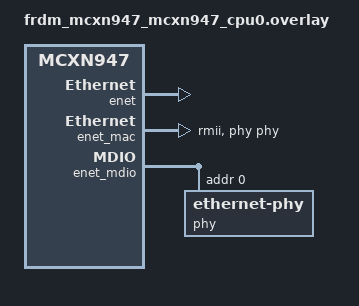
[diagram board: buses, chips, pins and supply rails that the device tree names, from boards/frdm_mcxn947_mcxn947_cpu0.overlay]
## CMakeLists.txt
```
# SPDX-License-Identifier: MIT
#
# IOTCONNECT NXP eIQ Neutron NPU benchmark -- vendor-specific demo.
#
# Proves NPU acceleration by running the SAME quantized model twice -- once on
# the eIQ Neutron NPU, once on the Cortex-M33 -- timing each inference and
# streaming the result to /IOTCONNECT. The NPU-vs-CPU build is a single Kconfig
# switch, CONFIG_MCUX_HAS_NPU (CPU build via cpu.conf).
#
# This app single-sources the eIQ/Neutron model glue from iotc-mcx-zephyr-demos
# (it does not copy it) and uses the IOTCONNECT Zephyr SDK for connectivity.
#
# Required modules on the `west build` line (see README):
#   -DZEPHYR_EXTRA_MODULES=<abs path to iotc-zephyr-sdk>
#   -DZEPHYR_IOTC_C_LIB_MODULE_DIR=<abs path to iotc-c-lib>
cmake_minimum_required(VERSION 3.20.0)
find_package(Zephyr REQUIRED HINTS $ENV{ZEPHYR_BASE})
project(iotc_npu_benchmark)

# --- eIQ/Neutron model glue (in-tree; override with -DMODEL_DIR=...) ---------
# NXP's TFLM interpreter wrapper + NPU/CPU op resolvers + the quantized model
# data, vendored from the (archived) iotc-mcx-zephyr-demos repo. Apache-2.0.
if(NOT DEFINED MODEL_DIR)
  set(MODEL_DIR ${CMAKE_CURRENT_SOURCE_DIR}/model)
endif()

# --- eIQ-augmented TensorFlow Lite Micro (NXP Neutron build) -----------------
# This is the "eIQ package": NXP's mcux-sdk-middleware-tensorflow repo
# (github.com/nxp-mcuxpresso, tag MCUX_2.16.000). It carries the Neutron
# kernel + prebuilt libtflm.a / libNeutron*.a that upstream tflite-micro
# lacks -- clone it and point TFLITE_DIR at it. See README -> "Drop in".
if(NOT DEFINED TFLITE_DIR)
  set(TFLITE_DIR ${ZEPHYR_BASE}/../modules/lib/tflite-micro)
endif()

if(NOT EXISTS ${MODEL_DIR}/model.cpp)
  message(FATAL_ERROR
    "Model glue not found at ${MODEL_DIR} (vendored under this demo's model/; "
    "override with -DMODEL_DIR=...).")
endif()

if(NOT EXISTS ${TFLITE_DIR}/lib)
  message(FATAL_ERROR
    "NXP eIQ TFLM middleware not found at ${TFLITE_DIR} -- upstream "
    "tflite-micro lacks the Neutron backend and the prebuilt libtflm.a. "
    "Clone github.com/nxp-mcuxpresso/mcux-sdk-middleware-tensorflow "
    "(tag MCUX_2.16.000) and pass -DTFLITE_DIR=<path to it>. "
    "See README -> 'Drop in the eIQ package'.")
endif()

# --- App sources -------------------------------------------------------------
#   main.c          : net bring-up + SDK lifecycle + benchmark loop (pure C)
#   model_bench.cpp : tiny C-callable shim over the C++ MODEL_* API
#   model.cpp       : the reused TFLM interpreter wrapper (NXP)
target_sources(app PRIVATE
  src/main.c
  src/model_bench.cpp
  ${MODEL_DIR}/model.cpp
)

zephyr_include_directories(
  src
  ${MODEL_DIR}
  ${TFLITE_DIR}
  ${TFLITE_DIR}/third_party/flatbuffers/include
  ${TFLITE_DIR}/third_party/gemmlowp
  ${TFLITE_DIR}/third_party/ruy
)

# --- Prebuilt TFLM static library (per Cortex-M core) ------------------------
add_library(libtflm STATIC IMPORTED GLOBAL)
if(DEFINED CONFIG_CPU_CORTEX_M33)
  set_target_properties(libtflm PROPERTIES IMPORTED_LOCATION
    ${TFLITE_DIR}/lib/cm33/armgcc/libtflm.a)
elseif(DEFINED CONFIG_CPU_CORTEX_M7)
  set_target_properties(libtflm PROPERTIES IMPORTED_LOCATION
    ${TFLITE_DIR}/lib/cm7/armgcc/libtflm.a)
else()
  message(FATAL_ERROR "No prebuilt libtflm.a for this core")
endif()

if(DEFINED CONFIG_MCUX_HAS_NPU)
  # ---- NPU path: Neutron-compiled graph + Neutron runtime -------------------
  zephyr_include_directories(
    ${MODEL_DIR}/model_npu
    ${TFLITE_DIR}/tensorflow/lite/micro/kernels/neutron
    ${TFLITE_DIR}/third_party/neutron/common/include
    ${TFLITE_DIR}/third_party/neutron/driver/include
  )
  target_sources(app PRIVATE
    ${MODEL_DIR}/model_npu/model_ops_npu.cpp
    ${MODEL_DIR}/model_npu/model_data.s          # eIQ Neutron-converter output
    ${TFLITE_DIR}/tensorflow/lite/micro/kernels/neutron/neutron.cpp
  )
  add_library(libNeutronDriver STATIC IMPORTED GLOBAL)
  set_target_properties(libNeutronDriver PROPERTIES IMPORTED_LOCATION
    ${TFLITE_DIR}/third_party/neutron/mcxn/libNeutronDriver.a)
  add_library(libNeutronFirmware STATIC IMPORTED GLOBAL)
  set_target_properties(libNeutronFirmware PROPERTIES IMPORTED_LOCATION
    ${TFLITE_DIR}/third_party/neutron/mcxn/libNeutronFirmware.a)
  target_link_libraries(app PUBLIC libNeutronDriver libNeutronFirmware)
else()
  # ---- CPU path: same model topology, reference/CMSIS-NN kernels -------------
  zephyr_include_directories(${MODEL_DIR}/model_sw)
  target_sources(app PRIVATE ${MODEL_DIR}/model_sw/model_mobilenet_ops_micro.cpp)
endif()

target_link_libraries(app PUBLIC libtflm)
target_compile_definitions(app PRIVATE TF_LITE_STATIC_MEMORY)
target_compile_options(app PRIVATE -Wno-psabi)
```

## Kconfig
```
# Application Kconfig for the IOTCONNECT NXP Neutron NPU benchmark.
mainmenu "IOTCONNECT NXP Neutron NPU Benchmark"

config APP_PUBLISH_TO_CLOUD
	bool "Publish benchmark results to /IOTCONNECT"
	default y
	help
	  When enabled, the device brings up the network bearer, syncs time, and
	  streams each benchmark cycle to IOTCONNECT (requires device credentials).
	  When disabled, the inference benchmark runs in a local loop that only logs
	  results to the console -- no network, SNTP, or credentials needed. Handy
	  for validating NPU-vs-CPU timing on the bench before wiring up the cloud.

config APP_BENCH_ITERATIONS
	int "Measured inferences per benchmark cycle"
	default 20
	help
	  Number of timed MODEL_RunInference() calls averaged into one telemetry
	  record (min / avg / max are reported).

config APP_BENCH_WARMUP
	int "Warm-up inferences (not timed) per cycle"
	default 2

config APP_BENCH_INTERVAL_SEC
	int "Seconds between benchmark cycles / publishes"
	default 5

# ---------------------------------------------------------------------------
# Symbols consumed by the reused model glue (iotc-mcx-zephyr-demos/src/model).
# Defined here so this app's Kconfig is self-contained.
# ---------------------------------------------------------------------------

config MCUX_HAS_NPU
	bool "Build the eIQ Neutron NPU model (off = CPU/reference kernels)"
	default y
	help
	  Selects model_npu (the Neutron-compiled graph + Neutron runtime) versus
	  model_sw (plain reference/CMSIS-NN kernels) at build time -- this is the
	  switch the whole demo pivots on. The CPU build is provided by cpu.conf.

config APP_TENSOR_ARENA_SIZE_KB
	int "TFLM tensor arena size (KB)"
	default 200
	help
	  Static scratch buffer for model tensors. Size to your model; the app logs
	  actual arena bytes used at startup so you can trim this.

config APP_LOG_LEVEL
	int "Application/model log level (0=off..4=dbg)"
	default 3

source "Kconfig.zephyr"
```

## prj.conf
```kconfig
# IOTCONNECT NXP eIQ Neutron NPU benchmark -- vendor-specific demo.
#
# = the vendor-neutral connectivity baseline (copied from the SDK telemetry
#   sample) + the eIQ/Neutron NPU model-build requirements (from
#   iotc-mcx-zephyr-demos). Board bearer settings live in boards/<board>.conf.
# The NPU-vs-CPU model is chosen by CONFIG_MCUX_HAS_NPU (default y); the CPU
# build is `-DEXTRA_CONF_FILE=cpu.conf`.

# === Connectivity: IOTCONNECT SDK ==========================================
CONFIG_IOTCONNECT=y
CONFIG_IOTCONNECT_DRA=y
# Device identity (override per device; reuse your POC account values).
CONFIG_IOTCONNECT_CPID=""
CONFIG_IOTCONNECT_ENV=""
CONFIG_IOTCONNECT_DUID=""
CONFIG_IOTCONNECT_CT_AWS=y
CONFIG_IOTCONNECT_DRA_DISCOVERY_HOST="awsdiscovery.iotconnect.io"

# --- Networking (native Zephyr IP stack) -----------------------------------
CONFIG_NETWORKING=y
CONFIG_NET_NATIVE=y
CONFIG_NET_IPV4=y
CONFIG_NET_IPV6=n
CONFIG_NET_TCP=y
CONFIG_NET_UDP=y
CONFIG_NET_SOCKETS=y
CONFIG_NET_SOCKETS_SOCKOPT_TLS=y
CONFIG_NET_SOCKETS_TLS_MAX_CONTEXTS=4
CONFIG_DNS_RESOLVER=y
CONFIG_NET_CONNECTION_MANAGER=y
CONFIG_NET_MGMT=y
CONFIG_NET_MGMT_EVENT=y
CONFIG_POSIX_API=y

# --- TLS / mbedTLS ----------------------------------------------------------
CONFIG_TLS_CREDENTIALS=y
CONFIG_MBEDTLS=y
CONFIG_MBEDTLS_ENABLE_HEAP=y
CONFIG_MBEDTLS_HEAP_SIZE=60000
CONFIG_MBEDTLS_SSL_MAX_CONTENT_LEN=16384
CONFIG_MBEDTLS_PEM_PARSE_C=y
CONFIG_MBEDTLS_SSL_SERVER_NAME_INDICATION=y
CONFIG_MBEDTLS_CIPHERSUITE_TLS_ECDHE_RSA_WITH_AES_128_GCM_SHA256=y
CONFIG_MBEDTLS_CIPHERSUITE_TLS_ECDHE_ECDSA_WITH_AES_128_GCM_SHA256=y
CONFIG_ENTROPY_GENERATOR=y

# --- MQTT / HTTP / SNTP -----------------------------------------------------
CONFIG_MQTT_LIB=y
CONFIG_MQTT_LIB_TLS=y
CONFIG_MQTT_KEEPALIVE=30
CONFIG_HTTP_CLIENT=y
CONFIG_SNTP=y
CONFIG_POSIX_TIMERS=y

# --- Settings / NVS ---------------------------------------------------------
CONFIG_SETTINGS=y
CONFIG_SETTINGS_NVS=y
CONFIG_NVS=y
CONFIG_FLASH=y
CONFIG_FLASH_MAP=y

# === Edge AI: eIQ Neutron NPU model ========================================
CONFIG_MCUX_HAS_NPU=y
CONFIG_APP_TENSOR_ARENA_SIZE_KB=200

# TensorFlow Lite Micro is C++ and needs full libc++ + newlib. The vendor-
# neutral telemetry sample runs picolibc; the NPU model build cannot, so we
# switch libc here. Full newlib also restores FP printf for cJSON telemetry.
CONFIG_CPP=y
CONFIG_REQUIRES_FULL_LIBCPP=y
CONFIG_STD_CPP11=y
CONFIG_PICOLIBC=n
CONFIG_NEWLIB_LIBC=y
CONFIG_REQUIRES_FULL_LIBC=y
CONFIG_CBPRINTF_FP_SUPPORT=y

# Neutron NPU + TFLM kernels use hardware floating point.
CONFIG_FPU=y
CONFIG_FP_HARDABI=y

# === libc / heap / stacks ===================================================
# The tensor arena is a static buffer (.bss), so stacks stay modest; the heap
# covers mbedTLS + cJSON + net buffers.
CONFIG_MAIN_STACK_SIZE=8192
CONFIG_HEAP_MEM_POOL_SIZE=32768
CONFIG_IOTCONNECT_THREAD_STACK_SIZE=4096

# === Logging ================================================================
CONFIG_LOG=y
CONFIG_IOTCONNECT_LOG_LEVEL_INF=y
CONFIG_APP_LOG_LEVEL=3
```

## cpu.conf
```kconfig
# CPU (Cortex-M33) reference build -- same model topology, NO Neutron NPU.
#
#   west build -b frdm_mcxn947/mcxn947/cpu0 <app> -- -DEXTRA_CONF_FILE=cpu.conf ...
#
# Produces the "cpu-m33" accelerator label so the IOTCONNECT dashboard can chart
# CPU inference time alongside the default NPU build ("neutron-npu"). The delta
# between the two builds is the demo.
CONFIG_MCUX_HAS_NPU=n
```

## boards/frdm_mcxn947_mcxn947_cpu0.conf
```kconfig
# FRDM-MCXN947 bearer config for the NPU benchmark -- native Ethernet.
#
# Same bearer story as the SDK telemetry sample: the MCXN947 ENET-QoS MAC is
# wired (RMII) to an onboard Microchip LAN8741 PHY + RJ45. The overlay enables
# enet_mac / enet_mdio / phy; this turns on L2 + DHCPv4 so the interface
# self-configures and the SDK's connection manager sees L4 up.
#
# NOTE: if ENET init fails at boot with "Can't clear SWR", the RMII REF_CLK is
# not reaching the SoC. On FRDM-MCXN947 the usual cause is board rework: NXP's
# camera/LCD demo setups move solder jumpers that disconnect the ENET pins.
# The PHY still responds over MDIO and reports link, so it looks driver-side.

# --- Bearer: native Ethernet (ENET-QoS + LAN8741 RMII) ---------------------
CONFIG_NET_L2_ETHERNET=y
CONFIG_ETH_NXP_ENET_QOS=y
CONFIG_ETH_NXP_ENET_QOS_MAC=y
CONFIG_MDIO=y

# --- IPv4 via DHCP; auto-bring-up the interface ----------------------------
CONFIG_NET_DHCPV4=y
CONFIG_NET_CONFIG_AUTO_INIT=y
CONFIG_NET_CONFIG_NEED_IPV4=y
CONFIG_NET_CONFIG_SETTINGS=y

# --- Net buffers sized for a wired link ------------------------------------
CONFIG_NET_PKT_RX_COUNT=16
CONFIG_NET_PKT_TX_COUNT=16
CONFIG_NET_BUF_RX_COUNT=32
CONFIG_NET_BUF_TX_COUNT=32
CONFIG_NET_CONTEXT_RCVTIMEO=y
```

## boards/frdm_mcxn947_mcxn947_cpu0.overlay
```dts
/*
 * FRDM-MCXN947 overlay for the IOTCONNECT NPU benchmark.
 *
 * 1) Ethernet enablement (ENET-QoS MAC + LAN8741 PHY over RMII) -- identical to
 *    the SDK telemetry sample so the bearer comes up the same way.
 * 2) (Optional) a `zephyr,arena` chosen region to place the TFLM tensor arena
 *    in a specific SRAM bank. Left commented: by default the arena lands in
 *    .bss, which is fine for the benchmark. If the Neutron NPU cannot reach the
 *    default location (or you want deterministic placement / faster RAM),
 *    define a region node and point zephyr,arena at it -- model.cpp honors
 *    DT_CHOSEN(zephyr_arena) automatically.
 */

&enet {
	pinctrl-0 = <&pinmux_enet_qos>;
	pinctrl-names = "default";
	status = "okay";
};

&enet_mac {
	status = "okay";
	phy-connection-type = "rmii";
	zephyr,random-mac-address;
	phy-handle = <&phy>;
};

&enet_mdio {
	status = "okay";

	phy: ethernet-phy@0 {
		compatible = "ethernet-phy";
		reg = <0>;
		status = "okay";
	};
};

/* --- Optional: pin the TFLM tensor arena to a named SRAM region ------------
 * / {
 *	chosen {
 *		zephyr,arena = &sram_arena;
 *	};
 * };
 *
 * &sram_arena {
 *	status = "okay";
 * };
 * ------------------------------------------------------------------------- */
```

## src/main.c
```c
/*
 * Copyright (c) 2020-2026 Avnet, Inc.
 * SPDX-License-Identifier: MIT
 *
 * IOTCONNECT NXP eIQ Neutron NPU benchmark.
 *
 * Demonstrates NPU acceleration by running the same quantized model and timing
 * each inference, then streaming the result to /IOTCONNECT as telemetry. Build
 * the default (CONFIG_MCUX_HAS_NPU=y) image to run on the Neutron NPU, and the
 * cpu.conf image to run the same model on the Cortex-M33; the dashboard charts
 * "neutron-npu" against "cpu-m33" and the gap between them is the demo.
 *
 * The model interface is the C shim in model_bench.h; connectivity reuses the
 * IOTCONNECT Zephyr SDK exactly like the telemetry sample. Set
 * CONFIG_APP_PUBLISH_TO_CLOUD=n to run the benchmark console-only (no network,
 * no credentials) for quick NPU-vs-CPU timing on the bench.
 */

#include <stdint.h>

#include <zephyr/kernel.h>
#include <zephyr/logging/log.h>

#include "model_bench.h"

#ifdef CONFIG_APP_PUBLISH_TO_CLOUD
#include <zephyr/net/net_if.h>
#include <zephyr/net/net_mgmt.h>
#include <zephyr/net/conn_mgr_monitor.h>

#include "iotconnect.h"
#include "iotconnect_telemetry.h"
#include "iotc_time.h"

/* Real per-device credentials, generated into a git-ignored header exactly like
 * the SDK telemetry sample (see README). Defines device_cert_pem,
 * device_key_pem, broker_ca_pem, dra_ca_pem. */
#include "device_credentials.h"
#endif /* CONFIG_APP_PUBLISH_TO_CLOUD */

LOG_MODULE_REGISTER(iotc_npu_benchmark, CONFIG_APP_LOG_LEVEL);

#define APP_VERSION "1.0.0"

/* The one line that says which engine ran -- reported as a telemetry string so
 * IOTCONNECT can group/series by accelerator. */
#ifdef CONFIG_MCUX_HAS_NPU
#define ACCEL_LABEL "neutron-npu"
#else
#define ACCEL_LABEL "cpu-m33"
#endif

/* ---------------------------------------------------------------------------
 * Benchmark
 * ------------------------------------------------------------------------- */

struct bench_stats {
	uint32_t iterations;
	uint32_t min_us;
	uint32_t max_us;
	uint64_t sum_us;
	int top_index;
	unsigned arena_kb;
};

static void run_benchmark_cycle(struct bench_stats *st, unsigned seed)
{
	const int warmup = CONFIG_APP_BENCH_WARMUP;
	const int iters = CONFIG_APP_BENCH_ITERATIONS;

	st->iterations = 0;
	st->min_us = UINT32_MAX;
	st->max_us = 0;
	st->sum_us = 0;
	st->arena_kb = bench_model_arena_kb();

	/* Warm-up: first invoke pays one-time costs (NPU firmware load, caches);
	 * exclude it so the reported numbers are steady-state. */
	for (int i = 0; i < warmup; i++) {
		bench_model_fill_input(seed + (unsigned)i);
		(void)bench_model_invoke();
	}

	for (int i = 0; i < iters; i++) {
		bench_model_fill_input(seed + (unsigned)(warmup + i));

		uint32_t t0 = k_cycle_get_32();
		int rc = bench_model_invoke();
		uint32_t t1 = k_cycle_get_32();

		if (rc) {
			LOG_ERR("Inference failed at iteration %d", i);
			continue;
		}

		/* Unsigned subtraction is wrap-safe for a single inference. */
		uint32_t us = k_cyc_to_us_floor32(t1 - t0);

		st->sum_us += us;
		st->iterations++;
		if (us < st->min_us) {
			st->min_us = us;
		}
		if (us > st->max_us) {
			st->max_us = us;
		}
	}

	if (st->iterations == 0) {
		st->min_us = 0;
	}

	st->top_index = -1;
	(void)bench_model_top1(&st->top_index);
}

static uint32_t avg_us(const struct bench_stats *st)
{
	return st->iterations ? (uint32_t)(st->sum_us / st->iterations) : 0;
}

static void log_stats(const struct bench_stats *st)
{
	uint32_t a = avg_us(st);

	LOG_INF("%s | %s | avg %u.%03u ms (min %u.%03u / max %u.%03u) | "
		"%u inf/s | top=%d | arena %u KB",
		ACCEL_LABEL, bench_model_name(),
		a / 1000U, a % 1000U,
		st->min_us / 1000U, st->min_us % 1000U,
		st->max_us / 1000U, st->max_us % 1000U,
		a ? (1000000U / a) : 0U,
		st->top_index, st->arena_kb);
}

/* ---------------------------------------------------------------------------
 * Cloud path (compiled out when CONFIG_APP_PUBLISH_TO_CLOUD=n)
 * ------------------------------------------------------------------------- */
#ifdef CONFIG_APP_PUBLISH_TO_CLOUD

static K_SEM_DEFINE(l4_connected_sem, 0, 1);
static struct net_mgmt_event_callback l4_cb;

#define L4_EVENT_MASK (NET_EVENT_L4_CONNECTED | NET_EVENT_L4_DISCONNECTED)

static void l4_event_handler(struct net_mgmt_event_callback *cb,
			     uint64_t mgmt_event, struct net_if *iface)
{
	ARG_UNUSED(cb);
	ARG_UNUSED(iface);

	switch (mgmt_event) {
	case NET_EVENT_L4_CONNECTED:
		LOG_INF("Network connectivity established (L4 up)");
		k_sem_give(&l4_connected_sem);
		break;
	case NET_EVENT_L4_DISCONNECTED:
		LOG_WRN("Network connectivity lost (L4 down)");
		break;
	default:
		break;
	}
}

static int network_up(void)
{
	struct net_if *iface = net_if_get_default();

	if (!iface) {
		LOG_ERR("No network interface available");
		return -ENODEV;
	}

	net_mgmt_init_event_callback(&l4_cb, l4_event_handler, L4_EVENT_MASK);
	net_mgmt_add_event_callback(&l4_cb);

	if (!net_if_is_up(iface)) {
		int ret = net_if_up(iface);

		if (ret && ret != -EALREADY) {
			LOG_ERR("net_if_up failed (%d)", ret);
			return ret;
		}
	}

	conn_mgr_mon_resend_status();

	LOG_INF("Waiting for network connectivity...");
	k_sem_take(&l4_connected_sem, K_FOREVER);

	return 0;
}

static void on_connection_status(IotConnectMqttStatus status)
{
	switch (status) {
	case IOTC_CS_MQTT_CONNECTED:
		LOG_INF("IOTCONNECT: MQTT connected");
		break;
	case IOTC_CS_MQTT_DISCONNECTED:
		LOG_WRN("IOTCONNECT: MQTT disconnected");
		break;
	default:
		break;
	}
}

static void on_command(IotclC2dEventData data)
{
	const char *cmd = iotcl_c2d_get_command(data);
	const char *ack = iotcl_c2d_get_ack_id(data);

	LOG_INF("C2D command: %s", cmd ? cmd : "(null)");

	if (ack) {
		(void)iotcl_mqtt_send_cmd_ack(ack,
					      IOTCL_C2D_EVT_CMD_SUCCESS_WITH_ACK,
					      NULL);
	}
}

static void on_ota(IotclC2dEventData data)
{
	const char *ack = iotcl_c2d_get_ack_id(data);

	if (ack) {
		(void)iotcl_mqtt_send_ota_ack(ack,
					      IOTCL_C2D_EVT_OTA_DOWNLOAD_DONE,
					      NULL);
	}
}

static int publish_benchmark(const struct bench_stats *st)
{
	IotclMessageHandle msg = iotc_telemetry_begin();
	uint32_t a = avg_us(st);

	if (!msg) {
		LOG_ERR("Failed to allocate telemetry message");
		return -ENOMEM;
	}

	iotcl_telemetry_set_string(msg, "accelerator", ACCEL_LABEL);
	iotcl_telemetry_set_string(msg, "model", bench_model_name());
	iotcl_telemetry_set_number(msg, "inf_ms_avg", a / 1000.0);
	iotcl_telemetry_set_number(msg, "inf_ms_min", st->min_us / 1000.0);
	iotcl_telemetry_set_number(msg, "inf_ms_max", st->max_us / 1000.0);
	iotcl_telemetry_set_number(msg, "inf_per_sec", a ? (1000000.0 / a) : 0.0);
	iotcl_telemetry_set_number(msg, "iterations", (double)st->iterations);
	iotcl_telemetry_set_number(msg, "top_index", (double)st->top_index);
	iotcl_telemetry_set_number(msg, "arena_kb", (double)st->arena_kb);
	iotcl_telemetry_set_string(msg, "version", APP_VERSION);

	return iotc_telemetry_send(msg, false);
}

static int cloud_run(void)
{
	int ret = network_up();

	if (ret) {
		LOG_ERR("Network bring-up failed (%d)", ret);
		return ret;
	}

	ret = iotc_time_sync(CONFIG_IOTCONNECT_SNTP_SERVER,
			     CONFIG_IOTCONNECT_SNTP_TIMEOUT_MS);
	if (ret) {
		LOG_ERR("SNTP time sync failed (%d); TLS will likely fail", ret);
		return ret;
	}

	IotConnectClientConfig config;

	iotconnect_sdk_init_config(&config);

#if defined(CONFIG_IOTCONNECT_CT_AWS)
	config.connection_type = IOTC_CT_AWS;
#elif defined(CONFIG_IOTCONNECT_CT_AZURE)
	config.connection_type = IOTC_CT_AZURE;
#else
	config.connection_type = IOTC_CT_UNDEFINED;
#endif

	config.cpid = NULL;
	config.env = NULL;
	config.duid = NULL;

	config.auth_info.type = IOTC_AT_X509;
	config.auth_info.ca_cert = broker_ca_pem;
	config.auth_info.ca_cert_len = sizeof(broker_ca_pem);
	config.auth_info.dra_ca = dra_ca_pem;
	config.auth_info.dra_ca_len = sizeof(dra_ca_pem);
	config.auth_info.data.cert_info.device_cert = device_cert_pem;
	config.auth_info.data.cert_info.device_cert_len = sizeof(device_cert_pem);
	config.auth_info.data.cert_info.device_key = device_key_pem;
	config.auth_info.data.cert_info.device_key_len = sizeof(device_key_pem);

	config.status_cb = on_connection_status;
	config.cmd_cb = on_command;
	config.ota_cb = on_ota;
	config.verbose = true;

	ret = iotconnect_sdk_init(&config);
	if (ret) {
		LOG_ERR("iotconnect_sdk_init failed (%d)", ret);
		return ret;
	}

	unsigned seed = 0;

	while (true) {
		ret = iotconnect_sdk_connect();
		if (ret) {
			LOG_ERR("connect failed (%d); retrying", ret);
			k_sleep(K_SECONDS(5));
			continue;
		}

		while (iotconnect_sdk_is_connected()) {
			struct bench_stats st;

			run_benchmark_cycle(&st, seed++);
			log_stats(&st);
			(void)publish_benchmark(&st);

			k_sleep(K_SECONDS(CONFIG_APP_BENCH_INTERVAL_SEC));
		}

		iotconnect_sdk_disconnect();
		LOG_WRN("Disconnected; reconnecting...");
		k_sleep(K_SECONDS(5));
	}

	iotconnect_sdk_deinit();
	return 0;
}

#endif /* CONFIG_APP_PUBLISH_TO_CLOUD */

/* ---------------------------------------------------------------------------
 * main
 * ------------------------------------------------------------------------- */

int main(void)
{
	LOG_INF("IOTCONNECT NPU benchmark starting (app v%s, accelerator=%s)",
		APP_VERSION, ACCEL_LABEL);

	if (bench_model_init() != 0) {
		LOG_ERR("Model init failed");
		return -EIO;
	}
	LOG_INF("Model '%s' ready (%u KB arena used)",
		bench_model_name(), bench_model_arena_kb());

#ifdef CONFIG_APP_PUBLISH_TO_CLOUD
	return cloud_run();
#else
	LOG_INF("Cloud publishing disabled; local benchmark loop only.");

	unsigned seed = 0;

	while (true) {
		struct bench_stats st;

		run_benchmark_cycle(&st, seed++);
		log_stats(&st);
		k_sleep(K_SECONDS(CONFIG_APP_BENCH_INTERVAL_SEC));
	}

	return 0;
#endif /* CONFIG_APP_PUBLISH_TO_CLOUD */
}
```

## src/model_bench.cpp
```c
/*
 * SPDX-License-Identifier: MIT
 *
 * C-callable shim over the reused NXP MODEL_* interpreter wrapper. All the
 * TensorFlow Lite Micro / fsl_common include surface lives here; main.c sees
 * only model_bench.h. See model_bench.h for the contract.
 */
#include "model_bench.h"

/* Reused from iotc-mcx-zephyr-demos/src/model (on the include path via CMake).
 * Pulls in fsl_common.h (status_t) and tensorflow/lite/c/common.h. */
#include "model.h"

extern "C" int bench_model_init(void)
{
	return (MODEL_Init() == kStatus_Success) ? 0 : -1;
}

extern "C" const char *bench_model_name(void)
{
	return MODEL_GetModelName();
}

extern "C" unsigned bench_model_arena_kb(void)
{
	size_t max_size = 0;
	size_t used = MODEL_GetArenaUsedBytes(&max_size);

	return static_cast<unsigned>(used / 1024);
}

/* Product of a tensor's dimensions (NHWC etc.), guarding zero-sized dims. */
static size_t num_elements(const tensor_dims_t *dims)
{
	size_t n = 1;

	for (uint32_t i = 0; i < dims->size; i++) {
		if (dims->data[i]) {
			n *= dims->data[i];
		}
	}
	return n;
}

extern "C" void bench_model_fill_input(unsigned seed)
{
	tensor_dims_t dims;
	tensor_type_t type;
	uint8_t *in = MODEL_GetInputTensorData(&dims, &type);
	size_t n = num_elements(&dims);

	/* Write uint8 values; MODEL_ConvertInput maps them into the graph's
	 * actual input type (int8 subtract-127, or float normalize). */
	for (size_t i = 0; i < n; i++) {
		in[i] = static_cast<uint8_t>((i * 31u + seed) & 0xFFu);
	}

	MODEL_ConvertInput(in, &dims, type);
}

extern "C" int bench_model_invoke(void)
{
	return (MODEL_RunInference() == kStatus_Success) ? 0 : -1;
}

extern "C" double bench_model_top1(int *index)
{
	tensor_dims_t dims;
	tensor_type_t type;
	uint8_t *out = MODEL_GetOutputTensorData(&dims, &type);
	size_t n = num_elements(&dims);
	int best = 0;
	double best_val = -1e30;

	for (size_t i = 0; i < n; i++) {
		double v;

		switch (type) {
		case kTensorType_INT8:
			v = static_cast<double>(reinterpret_cast<int8_t *>(out)[i]);
			break;
		case kTensorType_UINT8:
			v = static_cast<double>(out[i]);
			break;
		case kTensorType_FLOAT32:
			v = static_cast<double>(reinterpret_cast<float *>(out)[i]);
			break;
		default:
			v = 0.0;
			break;
		}

		if (v > best_val) {
			best_val = v;
			best = static_cast<int>(i);
		}
	}

	if (index) {
		*index = best;
	}
	return best_val;
}
```

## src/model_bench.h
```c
/*
 * SPDX-License-Identifier: MIT
 *
 * Tiny C-callable shim over the NXP C++ MODEL_* API (iotc-mcx-zephyr-demos/
 * src/model/model.h). It keeps the TensorFlow Lite Micro / fsl_common headers
 * confined to one .cpp translation unit so main.c stays pure C and the whole
 * inference interface reduces to: init -> fill input -> invoke -> read top-1.
 *
 * The same shim drives both builds; which model actually runs (Neutron NPU vs
 * Cortex-M33) is decided at link time by CONFIG_MCUX_HAS_NPU, not here.
 */
#ifndef MODEL_BENCH_H
#define MODEL_BENCH_H

#ifdef __cplusplus
extern "C" {
#endif

/* Initialize the interpreter and allocate the tensor arena. 0 on success. */
int bench_model_init(void);

/* Human-readable model name baked into the model data (for telemetry). */
const char *bench_model_name(void);

/* Tensor arena bytes actually used, rounded to KB (logged at startup). */
unsigned bench_model_arena_kb(void);

/*
 * Fill the input tensor with a deterministic pattern derived from `seed`, then
 * run the model's input conversion (uint8 -> int8/float as the graph expects).
 * Content is irrelevant to timing -- the same ops execute regardless -- but
 * varying `seed` per cycle keeps the cloud readout looking live.
 */
void bench_model_fill_input(unsigned seed);

/* Run one inference (interpreter Invoke). 0 on success. This is the call the
 * benchmark times. */
int bench_model_invoke(void);

/*
 * Argmax over the output tensor. Returns the winning element's raw value and
 * writes its index to *index. Generic readout across int8/uint8/float outputs;
 * for a classifier this is the predicted class index.
 */
double bench_model_top1(int *index);

#ifdef __cplusplus
}
#endif

#endif /* MODEL_BENCH_H */
```
